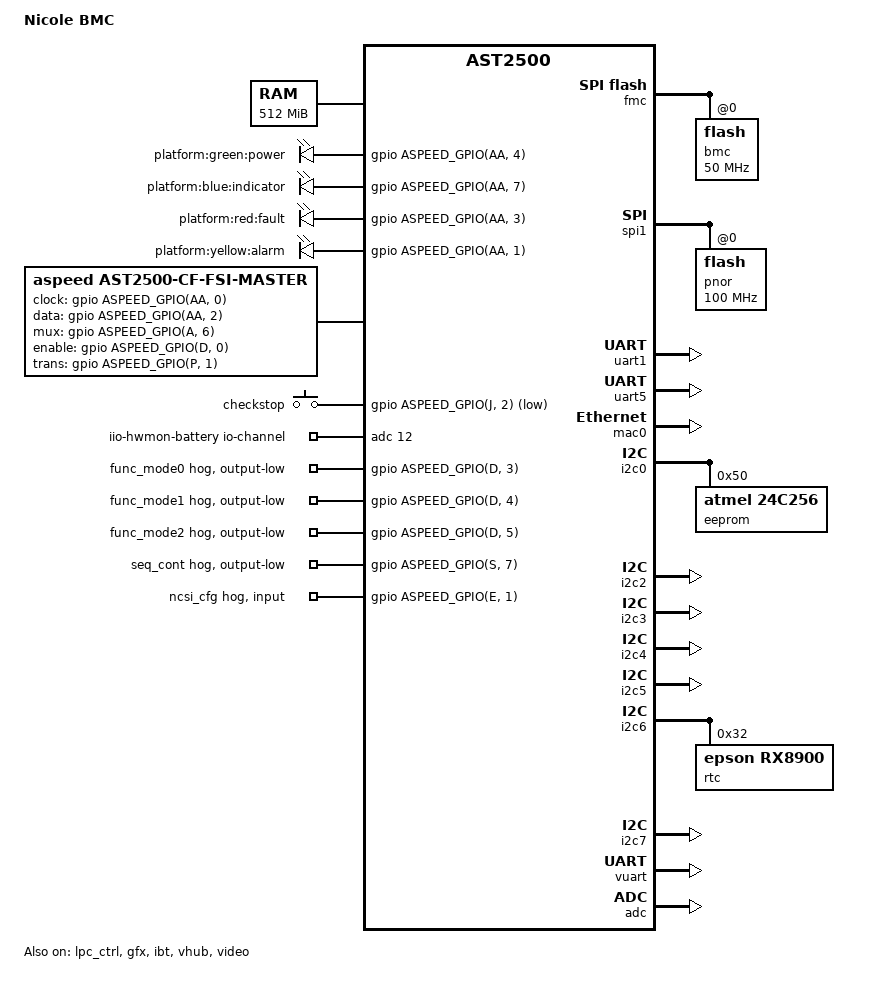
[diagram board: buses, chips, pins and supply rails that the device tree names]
// SPDX-License-Identifier: GPL-2.0+
// Copyright 2019 YADRO
/dts-v1/;
#include "aspeed-g5.dtsi"
#include <dt-bindings/gpio/aspeed-gpio.h>

/ {
	model = "Nicole BMC";
	compatible = "yadro,nicole-bmc", "aspeed,ast2500";

	chosen {
		stdout-path = &uart5;
		bootargs = "console=ttyS4,115200 earlyprintk";
	};

	memory@80000000 {
		reg = <0x80000000 0x20000000>;
	};

	reserved-memory {
		#address-cells = <1>;
		#size-cells = <1>;
		ranges;

		vga_memory: framebuffer@9f000000 {
			no-map;
			reg = <0x9f000000 0x01000000>; /* 16M */
		};

		flash_memory: region@98000000 {
			no-map;
			reg = <0x98000000 0x04000000>; /* 64M */
		};

		coldfire_memory: codefire_memory@9ef00000 {
			reg = <0x9ef00000 0x00100000>;
			no-map;
		};

		gfx_memory: framebuffer {
			size = <0x01000000>;
			alignment = <0x01000000>;
			compatible = "shared-dma-pool";
			reusable;
		};

		video_engine_memory: jpegbuffer {
			size = <0x02000000>;	/* 32M */
			alignment = <0x01000000>;
			compatible = "shared-dma-pool";
			reusable;
		};
	};

	leds {
		compatible = "gpio-leds";

		power {
			label = "platform:green:power";
			gpios = <&gpio ASPEED_GPIO(AA, 4) GPIO_ACTIVE_HIGH>;
		};

		identify {
			label = "platform:blue:indicator";
			gpios = <&gpio ASPEED_GPIO(AA, 7) GPIO_ACTIVE_HIGH>;
		};

		fault {
			label = "platform:red:fault";
			gpios = <&gpio ASPEED_GPIO(AA, 3) GPIO_ACTIVE_HIGH>;
		};

		attention {
			label = "platform:yellow:alarm";
			gpios = <&gpio ASPEED_GPIO(AA, 1) GPIO_ACTIVE_HIGH>;
		};
	};

	fsi: gpio-fsi {
		compatible = "aspeed,ast2500-cf-fsi-master", "fsi-master";
		#address-cells = <2>;
		#size-cells = <0>;
		no-gpio-delays;

		memory-region = <&coldfire_memory>;
		aspeed,sram = <&sram>;
		aspeed,cvic = <&cvic>;

		clock-gpios = <&gpio ASPEED_GPIO(AA, 0) GPIO_ACTIVE_HIGH>;
		data-gpios = <&gpio ASPEED_GPIO(AA, 2) GPIO_ACTIVE_HIGH>;
		mux-gpios = <&gpio ASPEED_GPIO(A, 6) GPIO_ACTIVE_HIGH>;
		enable-gpios = <&gpio ASPEED_GPIO(D, 0) GPIO_ACTIVE_HIGH>;
		trans-gpios = <&gpio ASPEED_GPIO(P, 1) GPIO_ACTIVE_HIGH>;
	};

	gpio-keys {
		compatible = "gpio-keys";

		checkstop {
			label = "checkstop";
			gpios = <&gpio ASPEED_GPIO(J, 2) GPIO_ACTIVE_LOW>;
			linux,code = <ASPEED_GPIO(J, 2)>;
		};
	};

	iio-hwmon-battery {
		compatible = "iio-hwmon";
		io-channels = <&adc 12>;
	};
};

&fmc {
	status = "okay";
	flash@0 {
		status = "okay";
		m25p,fast-read;
		label = "bmc";
		spi-max-frequency = <50000000>;
#include "openbmc-flash-layout.dtsi"
	};
};

&spi1 {
	status = "okay";
	pinctrl-names = "default";
	pinctrl-0 = <&pinctrl_spi1_default>;

	flash@0 {
		status = "okay";
		m25p,fast-read;
		label = "pnor";
		spi-max-frequency = <100000000>;
	};
};

&lpc_ctrl {
	status = "okay";
	memory-region = <&flash_memory>;
	flash = <&spi1>;
};

&uart1 {
	/* Rear RS-232 connector */
	status = "okay";

	pinctrl-names = "default";
	pinctrl-0 = <&pinctrl_txd1_default
			&pinctrl_rxd1_default
			&pinctrl_nrts1_default
			&pinctrl_ndtr1_default
			&pinctrl_ndsr1_default
			&pinctrl_ncts1_default
			&pinctrl_ndcd1_default
			&pinctrl_nri1_default>;
};

&uart5 {
	status = "okay";
};

&mac0 {
	status = "okay";

	use-ncsi;

	pinctrl-names = "default";
	pinctrl-0 = <&pinctrl_rmii1_default>;
	clocks = <&syscon ASPEED_CLK_GATE_MAC1CLK>,
		 <&syscon ASPEED_CLK_MAC1RCLK>;
	clock-names = "MACCLK", "RCLK";
};

&i2c0 {
	status = "okay";

	eeprom@50 {
		compatible = "atmel,24c256";
		reg = <0x50>;
		pagesize = <64>;
	};
};

&i2c2 {
	status = "okay";
	/* CPU0 characterization connector */
};

&i2c3 {
	status = "okay";
	/* CLK GEN SI5338 */
};

&i2c4 {
	status = "okay";
	/* Voltage regulators for CPU0 */
};

&i2c5 {
	status = "okay";
	/* Voltage regulators for CPU1 */
};

&i2c6 {
	status = "okay";

	rtc@32 {
		compatible = "epson,rx8900";
		reg = <0x32>;
	};
};

&i2c7 {
	status = "okay";
	/* CPLD */
};

&gpio {
	gpio-line-names =
	/*A0-A7*/	"","cfam-reset","","","","","fsi-mux","",
	/*B0-B7*/	"","","","","","","","",
	/*C0-C7*/	"","","","","","","","",
	/*D0-D7*/	"fsi-enable","bmc_power_up","sys_pwrok_buf",
			"func_mode0","func_mode1","func_mode2","","",
	/*E0-E7*/	"","ncsi_cfg","","","","","","",
	/*F0-F7*/	"","","","","","","","",
	/*G0-G7*/	"","","","","","","","",
	/*H0-H7*/	"","","","","","","","",
	/*I0-I7*/	"","","","","","","","",
	/*J0-J7*/	"","","checkstop","","","","","",
	/*K0-K7*/	"","","","","","","","",
	/*L0-L7*/	"","","","","","","","",
	/*M0-M7*/	"","","","","","","","",
	/*N0-N7*/	"","","","","","","","",
	/*O0-O7*/	"","","power-button","","","","","",
	/*P0-P7*/	"","fsi-trans","pm_rtc_adc_en","","","","","",
	/*Q0-Q7*/	"","","","","","","","id-button",
	/*R0-R7*/	"","software_pwrgood","","","","","","",
	/*S0-S7*/	"","","","","","","","seq_cont",
	/*T0-T7*/	"","","","","","","","",
	/*U0-U7*/	"","","","","","","","",
	/*V0-V7*/	"","","","","","","","",
	/*W0-W7*/	"","","","","","","","",
	/*X0-X7*/	"","","","","","","","",
	/*Y0-Y7*/	"","","","","","","","",
	/*Z0-Z7*/	"","","","","","","","",
	/*AA0-AA7*/	"fsi-clock","led-attention","fsi-data","led-fault",
			"led-power","","","led-identify",
	/*AB0-AB7*/	"","","","","","","","",
	/*AC0-AC7*/	"","","","","","","","";

	func_mode0 {
		gpio-hog;
		gpios = <ASPEED_GPIO(D, 3) GPIO_ACTIVE_HIGH>;
		output-low;
	};
	func_mode1 {
		gpio-hog;
		gpios = <ASPEED_GPIO(D, 4) GPIO_ACTIVE_HIGH>;
		output-low;
	};
	func_mode2 {
		gpio-hog;
		gpios = <ASPEED_GPIO(D, 5) GPIO_ACTIVE_HIGH>;
		output-low;
	};
	seq_cont {
		gpio-hog;
		gpios = <ASPEED_GPIO(S, 7) GPIO_ACTIVE_HIGH>;
		output-low;
	};
	ncsi_cfg {
		gpio-hog;
		input;
		gpios = <ASPEED_GPIO(E, 1) GPIO_ACTIVE_HIGH>;
	};
};

&vuart {
	status = "okay";
};

&gfx {
	status = "okay";
	memory-region = <&gfx_memory>;
};

&pinctrl {
	aspeed,external-nodes = <&gfx &lhc>;
};

&ibt {
	status = "okay";
};

&vhub {
	status = "okay";
};

&adc {
	status = "okay";

	pinctrl-names = "default";
	pinctrl-0 = <&pinctrl_adc0_default
			&pinctrl_adc1_default
			&pinctrl_adc2_default
			&pinctrl_adc3_default
			&pinctrl_adc4_default
			&pinctrl_adc5_default
			&pinctrl_adc6_default
			&pinctrl_adc7_default
			&pinctrl_adc8_default
			&pinctrl_adc9_default
			&pinctrl_adc10_default
			&pinctrl_adc11_default
			&pinctrl_adc12_default
			&pinctrl_adc13_default
			&pinctrl_adc14_default
			&pinctrl_adc15_default>;
};

&video {
	status = "okay";
	memory-region = <&video_engine_memory>;
};

#include "ibm-power9-dual.dtsi"
